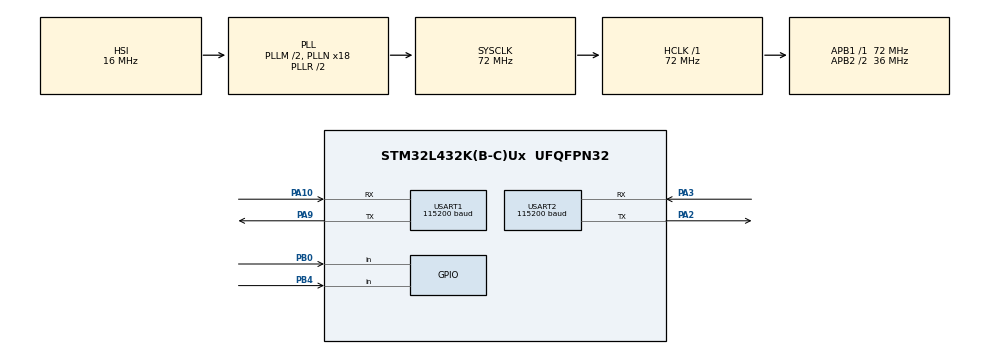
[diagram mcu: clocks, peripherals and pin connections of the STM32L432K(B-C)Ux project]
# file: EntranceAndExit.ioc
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Mcu.Family=STM32L4
Mcu.Name=STM32L432K(B-C)Ux
Mcu.Package=UFQFPN32
NVIC.PriorityGroup=NVIC_PRIORITYGROUP_4
NVIC.TIM1_CC_IRQn=true\:0\:0\:false\:false\:true\:true\:true
NVIC.USART1_IRQn=true\:0\:0\:false\:false\:true\:true\:true
NVIC.USART2_IRQn=true\:0\:0\:false\:false\:true\:true\:true
PA10.Mode=Asynchronous
PA10.Signal=USART1_RX
PA13\ (JTMS-SWDIO).Mode=Serial_Wire
PA13\ (JTMS-SWDIO).Signal=SYS_JTMS-SWDIO
PA14\ (JTCK-SWCLK).Mode=Serial_Wire
PA14\ (JTCK-SWCLK).Signal=SYS_JTCK-SWCLK
PA2.Mode=Asynchronous
PA2.Signal=USART2_TX
PA3.Mode=Asynchronous
PA3.Signal=USART2_RX
PA9.Mode=Asynchronous
PA9.Signal=USART1_TX
PB0.Signal=GPIO_Input
PB4\ (NJTRST).Signal=GPIO_Input
PC14-OSC32_IN\ (PC14).Mode=LSE-External-Oscillator
PC14-OSC32_IN\ (PC14).Signal=RCC_OSC32_IN
PC15-OSC32_OUT\ (PC15).Mode=LSE-External-Oscillator
PC15-OSC32_OUT\ (PC15).Signal=RCC_OSC32_OUT
ProjectManager.HeapSize=0x200
ProjectManager.StackSize=0x400
ProjectManager.TargetToolchain=MDK-ARM V5.27
RCC.ADCFreq_Value=32000000
RCC.AHBFreq_Value=72000000
RCC.APB1Freq_Value=72000000
RCC.APB1TimFreq_Value=72000000
RCC.APB2CLKDivider=RCC_HCLK_DIV2
RCC.APB2Freq_Value=36000000
RCC.APB2TimFreq_Value=72000000
RCC.CortexFreq_Value=72000000
RCC.HCLKFreq_Value=72000000
RCC.HSE_VALUE=8000000
RCC.HSI48_VALUE=48000000
RCC.HSI_VALUE=16000000
RCC.MSI_VALUE=4000000
RCC.PLLM=2
RCC.PLLN=18
RCC.PLLSourceVirtual=RCC_PLLSOURCE_HSI
RCC.SYSCLKFreq_VALUE=72000000
RCC.SYSCLKSource=RCC_SYSCLKSOURCE_PLLCLK
RCC.USBFreq_Value=32000000
RCC.VCOOutputFreq_Value=144000000
TIM1.Period=0xffff-1
TIM1.Prescaler=8-1
USART1.BaudRate=115200
USART1.VirtualMode-Asynchronous=VM_ASYNC
USART2.BaudRate=115200
USART2.VirtualMode-Asynchronous=VM_ASYNC
VP_TIM1_VS_ClockSourceINT.Mode=Internal
board=custom

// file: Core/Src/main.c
/* USER CODE BEGIN Header */
/**
  ******************************************************************************
  * @file           : main.c
  * @brief          : Main program body
  ******************************************************************************
  * @attention
  *
  * <h2><center>&copy; Copyright (c) 2021 STMicroelectronics.
  * All rights reserved.</center></h2>
  *
  * This software component is licensed by ST under BSD 3-Clause license,
  * the "License"; You may not use this file except in compliance with the
  * License. You may obtain a copy of the License at:
  *                        opensource.org/licenses/BSD-3-Clause
  *
  ******************************************************************************
  */
/* USER CODE END Header */
#include "main.h"

/* USER CODE BEGIN PTD */
#define IR1_PORT GPIOB
#define IR2_PORT GPIOB
#define IR1_PIN GPIO_PIN_0
#define IR2_PIN GPIO_PIN_4

/* USER CODE END PTD */

TIM_HandleTypeDef htim1;

UART_HandleTypeDef huart1;
UART_HandleTypeDef huart2;

void SystemClock_Config(void);
static void MX_GPIO_Init(void);
static void MX_TIM1_Init(void);
static void MX_USART1_UART_Init(void);
static void MX_USART2_UART_Init(void);

int main(void)
{

  /* MCU Configuration--------------------------------------------------------*/

  /* Reset of all peripherals, Initializes the Flash interface and the Systick. */
  HAL_Init();

  /* Configure the system clock */
  SystemClock_Config();

  /* Initialize all configured peripherals */
  MX_GPIO_Init();
  MX_TIM1_Init();
  MX_USART1_UART_Init();
  MX_USART2_UART_Init();
  /* USER CODE BEGIN 2 */
	int ppl_counter = 0;
	uint8_t plus = '+';
	uint8_t minus = '-';
	uint8_t one = '1';
	int counter = 0;
	uint8_t two = '2';
	int current_state = 0;	// 1 -> IR1 is on first    2-> IR2 is on first
	int next_state = 1;
	int flag_first = 0;
	uint8_t newline[2] = {'\n', '\r'};
	uint8_t nums[10] = {'0','1','2','3','4','5','6','7','8','9'};

  /* USER CODE END 2 */

  /* Infinite loop */
  /* USER CODE BEGIN WHILE */
  while (1)
  {
			if(HAL_GPIO_ReadPin(IR1_PORT,IR1_PIN) == 0){
				HAL_Delay(700);
				counter++;
				if (counter%2 == 0) {
					HAL_UART_Transmit(&huart2,(uint8_t*)"enter",sizeof("enter"),HAL_MAX_DELAY);
					HAL_UART_Transmit(&huart2,newline,sizeof(newline),HAL_MAX_DELAY);

					if (ppl_counter < 9)
						ppl_counter++;

					HAL_UART_Transmit(&huart2,&nums[ppl_counter],1,HAL_MAX_DELAY);
					HAL_UART_Transmit(&huart1,&nums[ppl_counter],1,HAL_MAX_DELAY);
					HAL_Delay(5000);
					HAL_UART_Transmit(&huart2,newline,sizeof(newline),HAL_MAX_DELAY);
				}

			}

			if(HAL_GPIO_ReadPin(IR2_PORT,IR2_PIN) == 0){
				HAL_Delay(700);
				counter++;
				if (counter%2 == 0) {
					HAL_UART_Transmit(&huart2,(uint8_t*)"exit",sizeof("exit"),HAL_MAX_DELAY);
					HAL_UART_Transmit(&huart2,newline,sizeof(newline),HAL_MAX_DELAY);
					if (ppl_counter > 0)
						ppl_counter--;

					uint8_t x = (uint8_t) ppl_counter;
					HAL_UART_Transmit(&huart2,&nums[ppl_counter],1,HAL_MAX_DELAY);
					HAL_UART_Transmit(&huart1,&nums[ppl_counter],1,HAL_MAX_DELAY);
					HAL_Delay(5000);
					HAL_UART_Transmit(&huart2,newline,sizeof(newline),HAL_MAX_DELAY);
				}
			}
    /* USER CODE END WHILE */

		}
}

void SystemClock_Config(void)
{
  RCC_OscInitTypeDef RCC_OscInitStruct = {0};
  RCC_ClkInitTypeDef RCC_ClkInitStruct = {0};
  RCC_PeriphCLKInitTypeDef PeriphClkInit = {0};

  /** Initializes the RCC Oscillators according to the specified parameters
  * in the RCC_OscInitTypeDef structure.
  */
  RCC_OscInitStruct.OscillatorType = RCC_OSCILLATORTYPE_HSI;
  RCC_OscInitStruct.HSIState = RCC_HSI_ON;
  RCC_OscInitStruct.HSICalibrationValue = RCC_HSICALIBRATION_DEFAULT;
  RCC_OscInitStruct.PLL.PLLState = RCC_PLL_ON;
  RCC_OscInitStruct.PLL.PLLSource = RCC_PLLSOURCE_HSI;
  RCC_OscInitStruct.PLL.PLLM = 2;
  RCC_OscInitStruct.PLL.PLLN = 18;
  RCC_OscInitStruct.PLL.PLLP = RCC_PLLP_DIV7;
  RCC_OscInitStruct.PLL.PLLQ = RCC_PLLQ_DIV2;
  RCC_OscInitStruct.PLL.PLLR = RCC_PLLR_DIV2;
  if (HAL_RCC_OscConfig(&RCC_OscInitStruct) != HAL_OK)
  {
    Error_Handler();
  }
  /** Initializes the CPU, AHB and APB buses clocks
  */
  RCC_ClkInitStruct.ClockType = RCC_CLOCKTYPE_HCLK|RCC_CLOCKTYPE_SYSCLK
                              |RCC_CLOCKTYPE_PCLK1|RCC_CLOCKTYPE_PCLK2;
  RCC_ClkInitStruct.SYSCLKSource = RCC_SYSCLKSOURCE_PLLCLK;
  RCC_ClkInitStruct.AHBCLKDivider = RCC_SYSCLK_DIV1;
  RCC_ClkInitStruct.APB1CLKDivider = RCC_HCLK_DIV1;
  RCC_ClkInitStruct.APB2CLKDivider = RCC_HCLK_DIV2;

  if (HAL_RCC_ClockConfig(&RCC_ClkInitStruct, FLASH_LATENCY_4) != HAL_OK)
  {
    Error_Handler();
  }
  PeriphClkInit.PeriphClockSelection = RCC_PERIPHCLK_USART1|RCC_PERIPHCLK_USART2;
  PeriphClkInit.Usart1ClockSelection = RCC_USART1CLKSOURCE_PCLK2;
  PeriphClkInit.Usart2ClockSelection = RCC_USART2CLKSOURCE_PCLK1;
  if (HAL_RCCEx_PeriphCLKConfig(&PeriphClkInit) != HAL_OK)
  {
    Error_Handler();
  }
  /** Configure the main internal regulator output voltage
  */
  if (HAL_PWREx_ControlVoltageScaling(PWR_REGULATOR_VOLTAGE_SCALE1) != HAL_OK)
  {
    Error_Handler();
  }
}

static void MX_TIM1_Init(void)
{

  TIM_ClockConfigTypeDef sClockSourceConfig = {0};
  TIM_MasterConfigTypeDef sMasterConfig = {0};

  htim1.Instance = TIM1;
  htim1.Init.Prescaler = 8-1;
  htim1.Init.CounterMode = TIM_COUNTERMODE_UP;
  htim1.Init.Period = 0xffff-1;
  htim1.Init.ClockDivision = TIM_CLOCKDIVISION_DIV1;
  htim1.Init.RepetitionCounter = 0;
  htim1.Init.AutoReloadPreload = TIM_AUTORELOAD_PRELOAD_DISABLE;
  if (HAL_TIM_Base_Init(&htim1) != HAL_OK)
  {
    Error_Handler();
  }
  sClockSourceConfig.ClockSource = TIM_CLOCKSOURCE_INTERNAL;
  if (HAL_TIM_ConfigClockSource(&htim1, &sClockSourceConfig) != HAL_OK)
  {
    Error_Handler();
  }
  sMasterConfig.MasterOutputTrigger = TIM_TRGO_RESET;
  sMasterConfig.MasterOutputTrigger2 = TIM_TRGO2_RESET;
  sMasterConfig.MasterSlaveMode = TIM_MASTERSLAVEMODE_DISABLE;
  if (HAL_TIMEx_MasterConfigSynchronization(&htim1, &sMasterConfig) != HAL_OK)
  {
    Error_Handler();
  }

}

static void MX_USART1_UART_Init(void)
{

  huart1.Instance = USART1;
  huart1.Init.BaudRate = 115200;
  huart1.Init.WordLength = UART_WORDLENGTH_8B;
  huart1.Init.StopBits = UART_STOPBITS_1;
  huart1.Init.Parity = UART_PARITY_NONE;
  huart1.Init.Mode = UART_MODE_TX_RX;
  huart1.Init.HwFlowCtl = UART_HWCONTROL_NONE;
  huart1.Init.OverSampling = UART_OVERSAMPLING_16;
  huart1.Init.OneBitSampling = UART_ONE_BIT_SAMPLE_DISABLE;
  huart1.AdvancedInit.AdvFeatureInit = UART_ADVFEATURE_NO_INIT;
  if (HAL_UART_Init(&huart1) != HAL_OK)
  {
    Error_Handler();
  }

}

static void MX_USART2_UART_Init(void)
{

  huart2.Instance = USART2;
  huart2.Init.BaudRate = 115200;
  huart2.Init.WordLength = UART_WORDLENGTH_8B;
  huart2.Init.StopBits = UART_STOPBITS_1;
  huart2.Init.Parity = UART_PARITY_NONE;
  huart2.Init.Mode = UART_MODE_TX_RX;
  huart2.Init.HwFlowCtl = UART_HWCONTROL_NONE;
  huart2.Init.OverSampling = UART_OVERSAMPLING_16;
  huart2.Init.OneBitSampling = UART_ONE_BIT_SAMPLE_DISABLE;
  huart2.AdvancedInit.AdvFeatureInit = UART_ADVFEATURE_NO_INIT;
  if (HAL_UART_Init(&huart2) != HAL_OK)
  {
    Error_Handler();
  }

}

static void MX_GPIO_Init(void)
{
  GPIO_InitTypeDef GPIO_InitStruct = {0};

  /* GPIO Ports Clock Enable */
  __HAL_RCC_GPIOC_CLK_ENABLE();
  __HAL_RCC_GPIOA_CLK_ENABLE();
  __HAL_RCC_GPIOB_CLK_ENABLE();

  /*Configure GPIO pins : PB0 PB4 */
  GPIO_InitStruct.Pin = GPIO_PIN_0|GPIO_PIN_4;
  GPIO_InitStruct.Mode = GPIO_MODE_INPUT;
  GPIO_InitStruct.Pull = GPIO_NOPULL;
  HAL_GPIO_Init(GPIOB, &GPIO_InitStruct);

}

void Error_Handler(void)
{
  __disable_irq();
  while (1)
  {
  }
}

/************************ (C) COPYRIGHT STMicroelectronics *****END OF FILE****/
